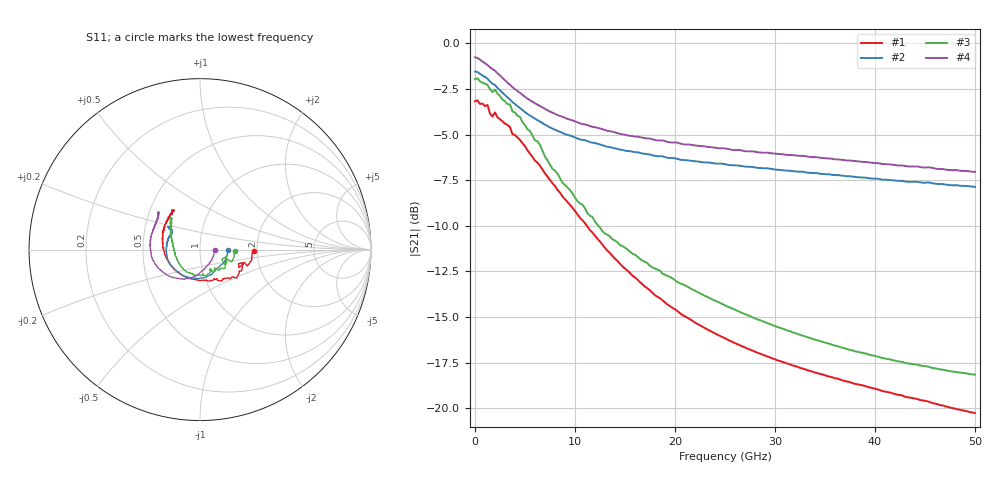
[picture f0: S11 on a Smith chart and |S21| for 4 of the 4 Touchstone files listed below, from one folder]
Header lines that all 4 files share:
# HZ S DB R 50
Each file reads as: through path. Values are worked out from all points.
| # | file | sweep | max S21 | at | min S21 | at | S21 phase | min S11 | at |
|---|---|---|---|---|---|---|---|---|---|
| 1 | 2lpad.s2p | 10 MHz to 50 GHz | -3.13 dB | 259.9 MHz | -20.3 dB | 50 GHz | 179 deg at 25 GHz | -15.1 dB | 11.76 GHz |
| 2 | 2ltsv.s2p | 10 MHz to 50.01 GHz | -1.55 dB | 10 MHz | -7.9 dB | 50.01 GHz | -74 deg at 25.01 GHz | -16.4 dB | 1.01 GHz |
| 3 | lpad.s2p | 10 MHz to 50 GHz | -1.92 dB | 259.9 MHz | -18.2 dB | 50 GHz | -138 deg at 25 GHz | -17.9 dB | 6.259 GHz |
| 4 | ltsv.s2p | 10 MHz to 50.01 GHz | -0.76 dB | 10 MHz | -7.0 dB | 50.01 GHz | -70 deg at 25.01 GHz | -21.3 dB | 10 MHz |
